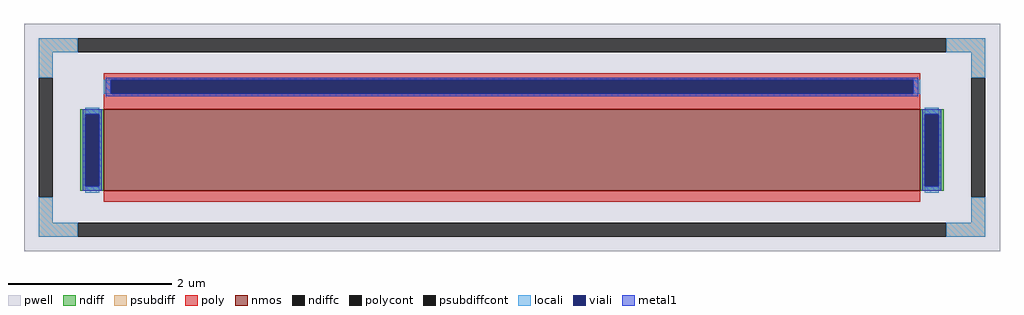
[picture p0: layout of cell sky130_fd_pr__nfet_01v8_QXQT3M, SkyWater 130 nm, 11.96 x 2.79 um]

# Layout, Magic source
magic
tech sky130A
magscale 1 2
<< pwell >>
rect -1196 -279 1196 279
<< nmos >>
rect -1000 -131 1000 69
<< ndiff >>
rect -1058 57 -1000 69
rect -1058 -119 -1046 57
rect -1012 -119 -1000 57
rect -1058 -131 -1000 -119
rect 1000 57 1058 69
rect 1000 -119 1012 57
rect 1046 -119 1058 57
rect 1000 -131 1058 -119
<< ndiffc >>
rect -1046 -119 -1012 57
rect 1012 -119 1046 57
<< psubdiff >>
rect -1160 209 -1064 243
rect 1064 209 1160 243
rect -1160 147 -1126 209
rect 1126 147 1160 209
rect -1160 -209 -1126 -147
rect 1126 -209 1160 -147
rect -1160 -243 -1064 -209
rect 1064 -243 1160 -209
<< psubdiffcont >>
rect -1064 209 1064 243
rect -1160 -147 -1126 147
rect 1126 -147 1160 147
rect -1064 -243 1064 -209
<< poly >>
rect -1000 141 1000 157
rect -1000 107 -984 141
rect 984 107 1000 141
rect -1000 69 1000 107
rect -1000 -157 1000 -131
<< polycont >>
rect -984 107 984 141
<< locali >>
rect -1160 209 -1064 243
rect 1064 209 1160 243
rect -1160 147 -1126 209
rect 1126 147 1160 209
rect -1000 107 -984 141
rect 984 107 1000 141
rect -1046 57 -1012 73
rect -1046 -135 -1012 -119
rect 1012 57 1046 73
rect 1012 -135 1046 -119
rect -1160 -209 -1126 -147
rect 1126 -209 1160 -147
rect -1160 -243 -1064 -209
rect 1064 -243 1160 -209
<< viali >>
rect -984 107 984 141
rect -1046 -119 -1012 57
rect 1012 -119 1046 57
<< metal1 >>
rect -996 141 996 147
rect -996 107 -984 141
rect 984 107 996 141
rect -996 101 996 107
rect -1052 57 -1006 69
rect -1052 -119 -1046 57
rect -1012 -119 -1006 57
rect -1052 -131 -1006 -119
rect 1006 57 1052 69
rect 1006 -119 1012 57
rect 1046 -119 1052 57
rect 1006 -131 1052 -119
<< properties >>
string FIXED_BBOX -1143 -226 1143 226
string gencell sky130_fd_pr__nfet_01v8
string library sky130
string parameters w 1.0 l 10.0 m 1 nf 1 diffcov 100 polycov 100 guard 1 glc 1 grc 1 gtc 1 gbc 1 tbcov 100 rlcov 100 topc 1 botc 0 poverlap 0 doverlap 1 lmin 0.15 wmin 0.42 compatible {sky130_fd_pr__nfet_01v8 sky130_fd_pr__nfet_01v8_lvt  sky130_fd_bs_flash__special_sonosfet_star  sky130_fd_pr__nfet_g5v0d10v5 sky130_fd_pr__nfet_05v0_nvt  sky130_fd_pr__nfet_03v3_nvt} full_metal 1 viasrc 100 viadrn 100 viagate 100 viagb 0 viagr 0 viagl 0 viagt 0
<< end >>
